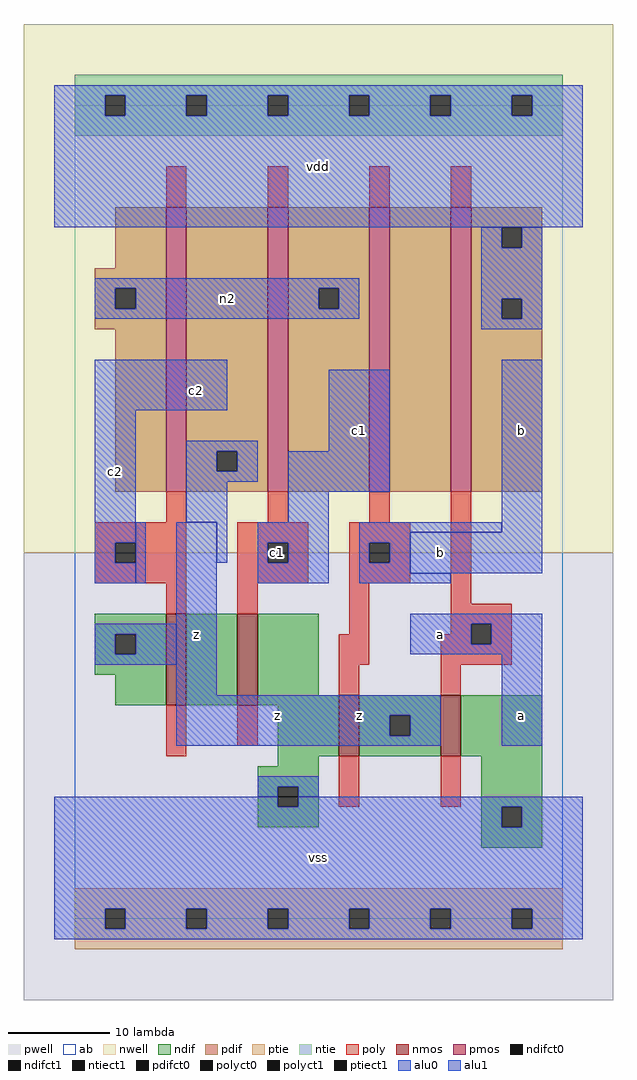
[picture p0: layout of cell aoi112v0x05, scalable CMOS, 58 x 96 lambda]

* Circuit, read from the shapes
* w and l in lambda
.subckt aoi112v0x05 a b c1 c2 n2 vdd vss z
M1 n1 c2 z vss nfet w=9 l=2
M2 vss c1 n1 vss nfet w=9 l=2
M3 z b vss vss nfet w=6 l=2
M4 vss a z vss nfet w=6 l=2
M5 z c2 n2 vdd pfet w=28 l=2
M6 n2 c1 z vdd pfet w=28 l=2
M7 n3 b n2 vdd pfet w=28 l=2
M8 vdd a n3 vdd pfet w=28 l=2
.ends

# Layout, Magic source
magic
tech scmos
<< ab >>
rect 0 0 48 80
<< nwell >>
rect -5 36 53 88
<< pwell >>
rect -5 -8 53 36
<< poly >>
rect 9 70 11 74
rect 19 70 21 74
rect 29 70 31 74
rect 37 70 39 74
rect 9 39 11 42
rect 19 39 21 42
rect 29 39 31 42
rect 2 37 11 39
rect 2 35 4 37
rect 6 35 11 37
rect 2 33 11 35
rect 9 30 11 33
rect 16 37 23 39
rect 16 35 19 37
rect 21 35 23 37
rect 16 33 23 35
rect 27 37 33 39
rect 27 35 29 37
rect 31 35 33 37
rect 27 33 33 35
rect 16 30 18 33
rect 27 28 29 33
rect 37 31 39 42
rect 37 29 43 31
rect 37 28 39 29
rect 26 25 29 28
rect 36 27 39 28
rect 41 27 43 29
rect 36 25 43 27
rect 26 22 28 25
rect 36 22 38 25
rect 9 16 11 21
rect 16 17 18 21
rect 26 11 28 16
rect 36 11 38 16
<< ndif >>
rect 2 28 9 30
rect 2 26 4 28
rect 6 26 9 28
rect 2 24 9 26
rect 4 21 9 24
rect 11 21 16 30
rect 18 22 24 30
rect 18 21 26 22
rect 20 16 26 21
rect 28 20 36 22
rect 28 18 31 20
rect 33 18 36 20
rect 28 16 36 18
rect 38 16 46 22
rect 20 15 24 16
rect 18 13 24 15
rect 18 11 20 13
rect 22 11 24 13
rect 40 11 46 16
rect 18 9 24 11
rect 40 9 42 11
rect 44 9 46 11
rect 40 7 46 9
<< pdif >>
rect 4 64 9 70
rect 2 62 9 64
rect 2 60 4 62
rect 6 60 9 62
rect 2 58 9 60
rect 4 42 9 58
rect 11 46 19 70
rect 11 44 14 46
rect 16 44 19 46
rect 11 42 19 44
rect 21 62 29 70
rect 21 60 24 62
rect 26 60 29 62
rect 21 42 29 60
rect 31 42 37 70
rect 39 68 46 70
rect 39 66 42 68
rect 44 66 46 68
rect 39 61 46 66
rect 39 59 42 61
rect 44 59 46 61
rect 39 42 46 59
<< alu1 >>
rect -2 81 50 82
rect -2 79 3 81
rect 5 79 11 81
rect 13 79 19 81
rect 21 79 27 81
rect 29 79 35 81
rect 37 79 43 81
rect 45 79 50 81
rect -2 68 50 79
rect 2 50 15 55
rect 2 37 6 50
rect 25 46 31 54
rect 21 42 31 46
rect 21 39 25 42
rect 2 35 4 37
rect 2 33 6 35
rect 10 22 14 39
rect 18 37 25 39
rect 18 35 19 37
rect 21 35 25 37
rect 18 33 25 35
rect 42 38 46 55
rect 33 34 46 38
rect 33 29 46 30
rect 33 27 39 29
rect 41 27 46 29
rect 33 26 46 27
rect 10 20 36 22
rect 10 18 31 20
rect 33 18 36 20
rect 10 17 36 18
rect 42 17 46 26
rect -2 11 20 12
rect 22 11 50 12
rect -2 9 42 11
rect 44 9 50 11
rect -2 1 50 9
rect -2 -1 3 1
rect 5 -1 11 1
rect 13 -1 19 1
rect 21 -1 27 1
rect 29 -1 35 1
rect 37 -1 43 1
rect 45 -1 50 1
rect -2 -2 50 -1
<< ptie >>
rect 0 1 48 3
rect 0 -1 3 1
rect 5 -1 11 1
rect 13 -1 19 1
rect 21 -1 27 1
rect 29 -1 35 1
rect 37 -1 43 1
rect 45 -1 48 1
rect 0 -3 48 -1
<< ntie >>
rect 0 81 48 83
rect 0 79 3 81
rect 5 79 11 81
rect 13 79 19 81
rect 21 79 27 81
rect 29 79 35 81
rect 37 79 43 81
rect 45 79 48 81
rect 0 77 48 79
<< nmos >>
rect 9 21 11 30
rect 16 21 18 30
rect 26 16 28 22
rect 36 16 38 22
<< pmos >>
rect 9 42 11 70
rect 19 42 21 70
rect 29 42 31 70
rect 37 42 39 70
<< polyct0 >>
rect 29 35 31 37
<< polyct1 >>
rect 4 35 6 37
rect 19 35 21 37
rect 39 27 41 29
<< ndifct0 >>
rect 4 26 6 28
rect 20 12 22 13
<< ndifct1 >>
rect 31 18 33 20
rect 20 11 22 12
rect 42 9 44 11
<< ntiect1 >>
rect 3 79 5 81
rect 11 79 13 81
rect 19 79 21 81
rect 27 79 29 81
rect 35 79 37 81
rect 43 79 45 81
<< ptiect1 >>
rect 3 -1 5 1
rect 11 -1 13 1
rect 19 -1 21 1
rect 27 -1 29 1
rect 35 -1 37 1
rect 43 -1 45 1
<< pdifct0 >>
rect 4 60 6 62
rect 14 44 16 46
rect 24 60 26 62
rect 42 66 44 68
rect 42 59 44 61
<< alu0 >>
rect 40 66 42 68
rect 44 66 46 68
rect 2 62 28 63
rect 2 60 4 62
rect 6 60 24 62
rect 26 60 28 62
rect 2 59 28 60
rect 40 61 46 66
rect 40 59 42 61
rect 44 59 46 61
rect 40 58 46 59
rect 11 46 18 47
rect 11 44 14 46
rect 16 44 18 46
rect 11 43 18 44
rect 11 39 15 43
rect 6 33 7 39
rect 2 28 10 29
rect 2 26 4 28
rect 6 26 10 28
rect 2 25 10 26
rect 14 35 15 39
rect 28 38 42 39
rect 28 37 33 38
rect 28 35 29 37
rect 31 35 33 37
rect 28 34 33 35
rect 28 33 37 34
rect 18 13 24 14
rect 18 12 20 13
rect 22 12 24 13
<< labels >>
rlabel alu0 15 61 15 61 6 n2
rlabel alu1 4 44 4 44 6 c2
rlabel alu1 20 20 20 20 6 z
rlabel alu1 12 28 12 28 6 z
rlabel polyct1 20 36 20 36 6 c1
rlabel alu1 12 52 12 52 6 c2
rlabel alu1 24 6 24 6 6 vss
rlabel alu1 28 20 28 20 6 z
rlabel alu1 28 48 28 48 6 c1
rlabel alu1 24 74 24 74 6 vdd
rlabel alu1 44 20 44 20 6 a
rlabel alu1 36 36 36 36 6 b
rlabel alu1 36 28 36 28 6 a
rlabel alu1 44 48 44 48 6 b
<< end >>
